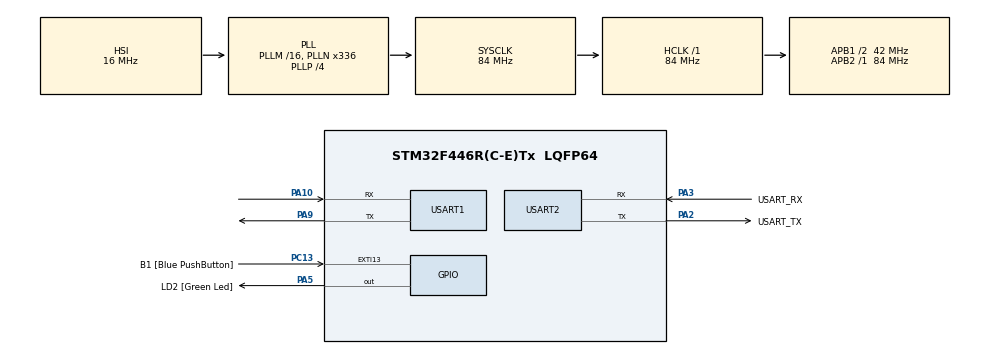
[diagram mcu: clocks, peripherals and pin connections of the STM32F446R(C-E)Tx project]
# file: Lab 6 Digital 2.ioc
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Mcu.Family=STM32F4
Mcu.Name=STM32F446R(C-E)Tx
Mcu.Package=LQFP64
NVIC.PriorityGroup=NVIC_PRIORITYGROUP_0
NVIC.USART1_IRQn=true\:0\:0\:false\:false\:true\:true\:true\:true
NVIC.USART2_IRQn=true\:0\:0\:false\:false\:true\:true\:true\:true
PA10.Mode=Asynchronous
PA10.Signal=USART1_RX
PA13.GPIO_Label=TMS
PA13.Mode=Serial_Wire
PA13.Signal=SYS_JTMS-SWDIO
PA14.GPIO_Label=TCK
PA14.Mode=Serial_Wire
PA14.Signal=SYS_JTCK-SWCLK
PA2.GPIO_Label=USART_TX
PA2.Mode=Asynchronous
PA2.Signal=USART2_TX
PA3.GPIO_Label=USART_RX
PA3.Mode=Asynchronous
PA3.Signal=USART2_RX
PA5.GPIO_Label=LD2 [Green Led]
PA5.Signal=GPIO_Output
PA9.Mode=Asynchronous
PA9.Signal=USART1_TX
PB3.GPIO_Label=SWO
PB3.Signal=SYS_JTDO-SWO
PC13.GPIO_Label=B1 [Blue PushButton]
PC13.GPIO_ModeDefaultEXTI=GPIO_MODE_IT_FALLING
PC13.Signal=GPXTI13
PC14-OSC32_IN.Mode=LSE-External-Oscillator
PC14-OSC32_IN.Signal=RCC_OSC32_IN
PC15-OSC32_OUT.Mode=LSE-External-Oscillator
PC15-OSC32_OUT.Signal=RCC_OSC32_OUT
PH0-OSC_IN.Mode=HSE-External-Oscillator
PH0-OSC_IN.Signal=RCC_OSC_IN
PH1-OSC_OUT.Mode=HSE-External-Oscillator
PH1-OSC_OUT.Signal=RCC_OSC_OUT
ProjectManager.HeapSize=0x200
ProjectManager.StackSize=0x400
ProjectManager.TargetToolchain=STM32CubeIDE
RCC.48MHZClocksFreq_Value=84000000
RCC.AHBFreq_Value=84000000
RCC.APB1CLKDivider=RCC_HCLK_DIV2
RCC.APB1Freq_Value=42000000
RCC.APB1TimFreq_Value=84000000
RCC.APB2Freq_Value=84000000
RCC.APB2TimFreq_Value=84000000
RCC.CortexFreq_Value=84000000
RCC.FLatency-AdvancedSettings=FLASH_LATENCY_2
RCC.HCLKFreq_Value=84000000
RCC.HSE_VALUE=8000000
RCC.HSI_VALUE=16000000
RCC.PLLN=336
RCC.PLLP=RCC_PLLP_DIV4
RCC.SYSCLKFreq_VALUE=84000000
RCC.SYSCLKSource=RCC_SYSCLKSOURCE_PLLCLK
RCC.USBFreq_Value=168000000
RCC.VCOOutputFreq_Value=336000000
USART1.VirtualMode=VM_ASYNC
USART2.VirtualMode=VM_ASYNC
board=NUCLEO-F446RE

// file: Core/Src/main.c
/* USER CODE BEGIN Header */
/**
  ******************************************************************************
  * @file           : main.c
  * @brief          : Main program body (UARTs por interrupciones)
  ******************************************************************************
  * @attention
  * Copyright (c) 2025 STMicroelectronics.
  * All rights reserved.
  * This software is licensed under terms in the LICENSE file.
  ******************************************************************************
  */
/* USER CODE END Header */
#include "main.h"

/* USER CODE BEGIN Includes */
#include <string.h>
#include <stdio.h>
/* USER CODE END Includes */

#define UART2_TXQ_SIZE   8      // nº de mensajes en cola
#define UART2_ITEM_MAX   64     // tamaño máx de cada mensaje

UART_HandleTypeDef huart1;
UART_HandleTypeDef huart2;

/* USER CODE BEGIN PV */
uint8_t rx1_byte; // 1 byte recibido por USART1

// Cola circular sencilla para TX por interrupción en USART2
static char     uart2_txq[UART2_TXQ_SIZE][UART2_ITEM_MAX];
static volatile uint8_t uart2_head = 0;   // próxima posición libre para escribir
static volatile uint8_t uart2_tail = 0;   // siguiente mensaje a enviar
static volatile uint8_t uart2_tx_in_progress = 0;
/* USER CODE END PV */

void SystemClock_Config(void);
static void MX_GPIO_Init(void);
static void MX_USART2_UART_Init(void);
static void MX_USART1_UART_Init(void);

/* USER CODE BEGIN PFP */
static void UART2_QueueSend(const char *s);
static void UART2_KickTx(void);
/* USER CODE END PFP */

/* USER CODE BEGIN 0 */
static void UART2_QueueSend(const char *s)
{
  uint8_t next = (uart2_head + 1) % UART2_TXQ_SIZE;
  if (next == uart2_tail) {
    return; // cola llena -> descarta (o maneja overflow)
  }
  strncpy(uart2_txq[uart2_head], s, UART2_ITEM_MAX - 1);
  uart2_txq[uart2_head][UART2_ITEM_MAX - 1] = '\0';
  uart2_head = next;

  if (!uart2_tx_in_progress) {
    UART2_KickTx();
  }
}

static void UART2_KickTx(void)
{
  if (uart2_tail == uart2_head) {
    uart2_tx_in_progress = 0;
    return; // cola vacía
  }
  size_t len = strlen(uart2_txq[uart2_tail]);
  if (len == 0) {
    uart2_tail = (uart2_tail + 1) % UART2_TXQ_SIZE;
    UART2_KickTx();
    return;
  }
  uart2_tx_in_progress = 1;
  HAL_UART_Transmit_IT(&huart2, (uint8_t*)uart2_txq[uart2_tail], (uint16_t)len);
}
/* USER CODE END 0 */

int main(void)
{
  HAL_Init();
  SystemClock_Config();

  MX_GPIO_Init();
  MX_USART2_UART_Init();   // PC (ST-LINK VCP) @115200
  MX_USART1_UART_Init();   // Arduino @9600

  /* USER CODE BEGIN 2 */
  // NVIC USART1 y USART2 (redundante si CubeMX ya lo generó; seguro dejarlo)
  HAL_NVIC_SetPriority(USART1_IRQn, 0, 0);
  HAL_NVIC_EnableIRQ(USART1_IRQn);
  HAL_NVIC_SetPriority(USART2_IRQn, 0, 0);
  HAL_NVIC_EnableIRQ(USART2_IRQn);

  // Mensajes de arranque por USART2 (via interrupción)
  UART2_QueueSend("USART2 OK\r\n");
  UART2_QueueSend("ready\r\n");

  // RX por interrupción en USART1 (desde Arduino)
  HAL_UART_Receive_IT(&huart1, &rx1_byte, 1);
  /* USER CODE END 2 */

  while (1)
  {
    //UART2_QueueSend("tick\r\n");  // se envía por IT
    HAL_Delay(1000);
    HAL_GPIO_TogglePin(LD2_GPIO_Port, LD2_Pin);
  }
}

void SystemClock_Config(void)
{
  RCC_OscInitTypeDef RCC_OscInitStruct = {0};
  RCC_ClkInitTypeDef RCC_ClkInitStruct = {0};

  __HAL_RCC_PWR_CLK_ENABLE();
  __HAL_PWR_VOLTAGESCALING_CONFIG(PWR_REGULATOR_VOLTAGE_SCALE3);

  RCC_OscInitStruct.OscillatorType = RCC_OSCILLATORTYPE_HSI;
  RCC_OscInitStruct.HSIState = RCC_HSI_ON;
  RCC_OscInitStruct.HSICalibrationValue = RCC_HSICALIBRATION_DEFAULT;
  RCC_OscInitStruct.PLL.PLLState = RCC_PLL_ON;
  RCC_OscInitStruct.PLL.PLLSource = RCC_PLLSOURCE_HSI;
  RCC_OscInitStruct.PLL.PLLM = 16;
  RCC_OscInitStruct.PLL.PLLN = 336;
  RCC_OscInitStruct.PLL.PLLP = RCC_PLLP_DIV4;
  RCC_OscInitStruct.PLL.PLLQ = 2;
  RCC_OscInitStruct.PLL.PLLR = 2;
  if (HAL_RCC_OscConfig(&RCC_OscInitStruct) != HAL_OK) { Error_Handler(); }

  RCC_ClkInitStruct.ClockType = RCC_CLOCKTYPE_HCLK|RCC_CLOCKTYPE_SYSCLK
                               |RCC_CLOCKTYPE_PCLK1|RCC_CLOCKTYPE_PCLK2;
  RCC_ClkInitStruct.SYSCLKSource = RCC_SYSCLKSOURCE_PLLCLK;
  RCC_ClkInitStruct.AHBCLKDivider = RCC_SYSCLK_DIV1;
  RCC_ClkInitStruct.APB1CLKDivider = RCC_HCLK_DIV2;
  RCC_ClkInitStruct.APB2CLKDivider = RCC_HCLK_DIV1;
  if (HAL_RCC_ClockConfig(&RCC_ClkInitStruct, FLASH_LATENCY_2) != HAL_OK) { Error_Handler(); }
}

static void MX_USART1_UART_Init(void)
{
  huart1.Instance = USART1;
  huart1.Init.BaudRate = 9600;
  huart1.Init.WordLength = UART_WORDLENGTH_8B;
  huart1.Init.StopBits = UART_STOPBITS_1;
  huart1.Init.Parity = UART_PARITY_NONE;
  huart1.Init.Mode = UART_MODE_TX_RX;
  huart1.Init.HwFlowCtl = UART_HWCONTROL_NONE;
  huart1.Init.OverSampling = UART_OVERSAMPLING_16;
  if (HAL_UART_Init(&huart1) != HAL_OK) { Error_Handler(); }
}

static void MX_USART2_UART_Init(void)
{
  huart2.Instance = USART2;
  huart2.Init.BaudRate = 115200;
  huart2.Init.WordLength = UART_WORDLENGTH_8B;
  huart2.Init.StopBits = UART_STOPBITS_1;
  huart2.Init.Parity = UART_PARITY_NONE;
  huart2.Init.Mode = UART_MODE_TX_RX;
  huart2.Init.HwFlowCtl = UART_HWCONTROL_NONE;
  huart2.Init.OverSampling = UART_OVERSAMPLING_16;
  if (HAL_UART_Init(&huart2) != HAL_OK) { Error_Handler(); }
}

static void MX_GPIO_Init(void)
{
  GPIO_InitTypeDef GPIO_InitStruct = {0};
  __HAL_RCC_GPIOC_CLK_ENABLE();
  __HAL_RCC_GPIOH_CLK_ENABLE();
  __HAL_RCC_GPIOA_CLK_ENABLE();
  __HAL_RCC_GPIOB_CLK_ENABLE();

  HAL_GPIO_WritePin(LD2_GPIO_Port, LD2_Pin, GPIO_PIN_RESET);

  GPIO_InitStruct.Pin = B1_Pin;
  GPIO_InitStruct.Mode = GPIO_MODE_IT_FALLING;
  GPIO_InitStruct.Pull = GPIO_NOPULL;
  HAL_GPIO_Init(B1_GPIO_Port, &GPIO_InitStruct);

  GPIO_InitStruct.Pin = LD2_Pin;
  GPIO_InitStruct.Mode = GPIO_MODE_OUTPUT_PP;
  GPIO_InitStruct.Pull = GPIO_NOPULL;
  GPIO_InitStruct.Speed = GPIO_SPEED_FREQ_LOW;
  HAL_GPIO_Init(LD2_GPIO_Port, &GPIO_InitStruct);
}

/* ===================== Callbacks ====================== */

// TX por IT de USART2 encadena la cola
void HAL_UART_TxCpltCallback(UART_HandleTypeDef *huart)
{
  if (huart == &huart2) {
    uart2_tail = (uart2_tail + 1) % UART2_TXQ_SIZE;
    if (uart2_tail != uart2_head) {
      UART2_KickTx();
    } else {
      uart2_tx_in_progress = 0;
    }
  }
}

// RX por IT desde USART1 (Arduino)
void HAL_UART_RxCpltCallback(UART_HandleTypeDef *huart)
{
  if (huart == &huart1) {
    char line[UART2_ITEM_MAX];
    const char *texto = NULL;

    switch (rx1_byte) {
      case '0': texto = "arriba";    break;
      case '1': texto = "abajo";     break;
      case '2': texto = "izquierda"; break;
      case '3': texto = "derecha";   break;
      case '4': texto = "Accion 1";  break;
      case '5': texto = "Accion 2";  break;
      default:  texto = "(no mapeado)"; break;
    }

   // snprintf(line, sizeof(line), "Btn: %c\r\n%s\r\n",
   //          (rx1_byte >= 32 && rx1_byte <= 126) ? rx1_byte : '.',
   //          texto);

    snprintf(line, sizeof(line), "%s\r\n", texto);
    //UART2_QueueSend(line);

    UART2_QueueSend(line);                      // mandar al PC (USART2, por IT)
    HAL_UART_Receive_IT(&huart1, &rx1_byte, 1); // rearmar 1 byte
  }
}

void HAL_UART_ErrorCallback(UART_HandleTypeDef *huart)
{
  if (huart == &huart1) {
    uint32_t err = HAL_UART_GetError(&huart1);
    char msg[64];
    int n = snprintf(msg, sizeof(msg), "UART1 ERR: 0x%08lX\r\n", err);
    if (n > 0) UART2_QueueSend(msg);

    __HAL_UART_CLEAR_OREFLAG(&huart1); // por si hubo Overrun
    HAL_UART_Receive_IT(&huart1, &rx1_byte, 1);
  }
}

void Error_Handler(void)
{
  __disable_irq();
  while (1) { }
}
